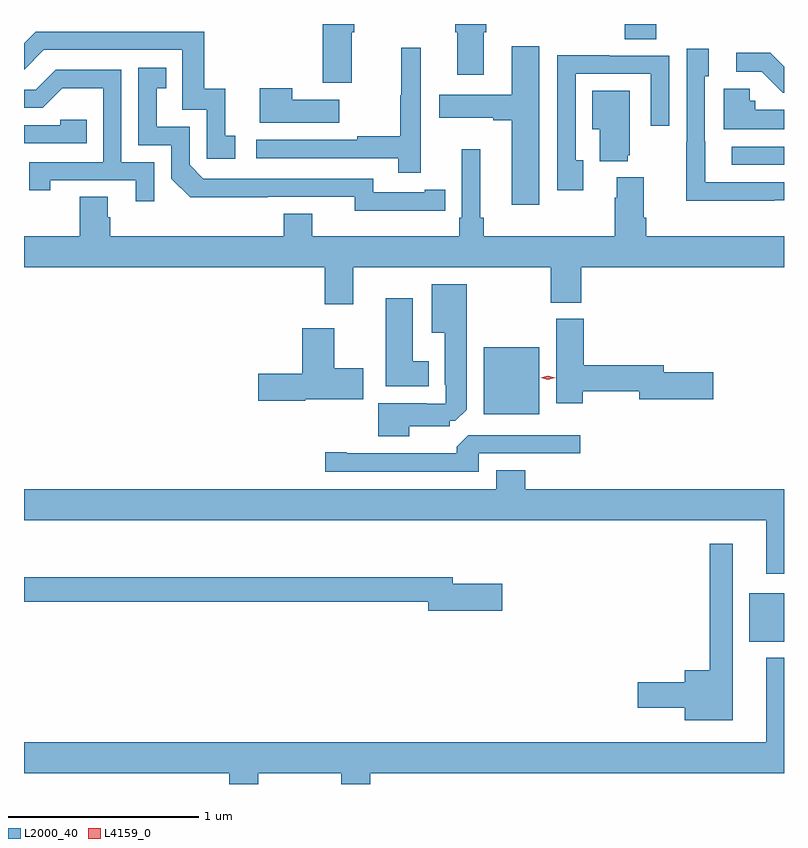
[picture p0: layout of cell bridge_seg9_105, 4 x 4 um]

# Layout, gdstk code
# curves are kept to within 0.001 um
import gdstk
lib = gdstk.Library(unit=1e-6, precision=1e-09)
def R(c, l, rs):  # rectangles x0, y0, x1, y1
    for r in rs: c.add(gdstk.rectangle(r[:2], r[2:], *l))
def P(c, l, *ps):  # polygons
    for p in ps: c.add(gdstk.Polygon(p, *l))
L2000_40 = (2000, 40)
L4159_0 = (4159, 0)

bridge_seg9_105 = lib.new_cell('bridge_seg9_105')
R(bridge_seg9_105, L2000_40, [(774.647,1173.137,774.83,1173.391), (773.249,1174.334,773.542,1174.687), (774.555,1175.646,774.83,1175.742), (773.993,1176.307,774.158,1176.388)])
P(bridge_seg9_105, L2000_40, [(773.251,1176.344),(773.264,1176.344),(773.264,1176.388),(773.099,1176.388),(773.099,1176.344),(773.111,1176.344),(773.111,1176.12),(773.251,1176.12)],
  [(772.555,1176.344),(772.568,1176.344),(772.568,1176.388),(772.403,1176.388),(772.403,1176.078),(772.555,1176.078)],
  [(771.943,1175.799),(771.89,1175.799),(771.89,1176.046),(771.779,1176.046),(771.779,1176.348),(770.892,1176.348),(770.83,1176.286),(770.83,1176.148),(770.934,1176.252),(771.663,1176.252),(771.663,1175.937),(771.792,1175.937),(771.792,1175.679),(771.943,1175.679)],
  [(773.542,1176.271),(773.396,1176.271),(773.396,1176.016),(773.016,1176.016),(773.016,1175.894),(773.3,1175.894),(773.3,1175.882),(773.396,1175.882),(773.396,1175.436),(773.542,1175.436)],
  [(772.917,1176.262),(772.816,1176.262),(772.816,1176.012),(772.809,1176.012),(772.809,1175.798),(772.585,1175.798),(772.585,1175.778),(772.053,1175.778),(772.053,1175.682),(772.801,1175.682),(772.801,1175.604),(772.917,1175.604)],
  [(774.779,1175.46),(774.83,1175.46),(774.83,1175.556),(774.415,1175.556),(774.415,1175.771),(774.414,1175.771),(774.414,1176.114),(774.433,1176.114),(774.433,1176.259),(774.318,1176.259),(774.318,1175.765),(774.316,1175.765),(774.316,1175.459),(774.779,1175.459)],
  [(774.83,1176.163),(774.757,1176.236),(774.579,1176.236),(774.579,1176.138),(774.713,1176.138),(774.824,1176.027),(774.83,1176.027)],
  [(773.773,1175.67),(773.733,1175.67),(773.733,1176.126),(774.129,1176.126),(774.129,1175.853),(774.225,1175.853),(774.225,1176.222),(773.909,1176.222),(773.909,1176.224),(773.637,1176.224),(773.637,1175.514),(773.773,1175.514)],
  [(772.94,1175.406),(773.048,1175.406),(773.048,1175.515),(772.94,1175.515),(772.94,1175.502),(772.668,1175.502),(772.668,1175.574),(771.774,1175.574),(771.702,1175.646),(771.702,1175.847),(771.529,1175.847),(771.529,1176.051),(771.578,1176.051),(771.578,1176.157),(771.432,1176.157),(771.432,1175.751),(771.606,1175.751),(771.606,1175.574),(771.704,1175.477),(772.572,1175.478),(772.572,1175.405)],
  [(771.516,1175.661),(771.342,1175.661),(771.342,1176.147),(770.996,1176.147),(770.891,1176.042),(770.83,1176.042),(770.83,1175.946),(770.928,1175.946),(771.032,1176.05),(771.246,1176.05),(771.246,1175.661),(770.857,1175.661),(770.857,1175.514),(770.968,1175.514),(770.968,1175.565),(771.419,1175.565),(771.419,1175.454),(771.516,1175.454)],
  [(772.489,1175.989),(772.241,1175.989),(772.241,1176.049),(772.07,1176.049),(772.07,1175.867),(772.489,1175.867)],
  [(774.83,1175.938),(774.678,1175.938),(774.678,1175.985),(774.651,1175.985),(774.651,1176.046),(774.512,1176.046),(774.512,1175.834),(774.83,1175.834)],
  [(774.008,1175.697),(774.019,1175.697),(774.019,1176.037),(773.822,1176.037),(773.822,1175.834),(773.861,1175.834),(773.861,1175.666),(774.008,1175.666)],
  [(771.161,1175.883),(771.021,1175.883),(771.021,1175.856),(770.83,1175.856),(770.83,1175.76),(771.161,1175.76)],
  [(772.564,1175.108),(773.602,1175.108),(773.602,1174.921),(773.762,1174.921),(773.762,1175.108),(774.83,1175.108),(774.83,1175.272),(774.104,1175.272),(774.104,1175.368),(774.091,1175.368),(774.091,1175.581),(773.951,1175.581),(773.951,1175.474),(773.939,1175.474),(773.939,1175.272),(773.249,1175.272),(773.249,1175.368),(773.23,1175.368),(773.23,1175.728),(773.133,1175.728),(773.133,1175.368),(773.12,1175.368),(773.12,1175.272),(772.348,1175.272),(772.348,1175.389),(772.196,1175.389),(772.196,1175.272),(771.284,1175.272),(771.284,1175.37),(771.271,1175.37),(771.271,1175.48),(771.124,1175.48),(771.124,1175.272),(770.83,1175.272),(770.83,1175.108),(772.412,1175.108),(772.412,1174.914),(772.564,1174.914)],
  [(772.858,1174.271),(773.07,1174.271),(773.07,1174.299),(773.101,1174.299),(773.161,1174.359),(773.161,1175.017),(772.976,1175.017),(772.976,1174.763),(773.045,1174.763),(773.045,1174.489),(773.049,1174.489),(773.049,1174.389),(772.949,1174.389),(772.949,1174.393),(772.694,1174.393),(772.694,1174.217),(772.858,1174.217)],
  [(772.96,1174.612),(772.876,1174.612),(772.876,1174.945),(772.733,1174.945),(772.733,1174.481),(772.96,1174.481)],
  [(773.772,1174.456),(774.068,1174.456),(774.068,1174.414),(774.457,1174.414),(774.457,1174.556),(774.196,1174.556),(774.196,1174.592),(773.777,1174.592),(773.777,1174.836),(773.63,1174.836),(773.63,1174.392),(773.772,1174.392)],
  [(772.311,1174.412),(772.615,1174.412),(772.615,1174.575),(772.462,1174.575),(772.462,1174.786),(772.295,1174.786),(772.295,1174.547),(772.062,1174.547),(772.062,1174.405),(772.311,1174.405)],
  [(773.223,1174.128),(773.758,1174.128),(773.758,1174.224),(773.169,1174.224),(773.108,1174.162),(773.108,1174.128),(772.528,1174.128),(772.528,1174.133),(772.416,1174.133),(772.416,1174.032),(773.223,1174.032)],
  [(774.83,1173.94),(773.468,1173.94),(773.468,1174.039),(773.315,1174.039),(773.315,1173.94),(770.83,1173.94),(770.83,1173.776),(774.737,1173.776),(774.737,1173.495),(774.83,1173.495)],
  [(774.559,1173.652),(774.438,1173.652),(774.438,1172.986),(774.308,1172.986),(774.308,1172.924),(774.06,1172.924),(774.06,1172.789),(774.308,1172.789),(774.308,1172.723),(774.559,1172.723)],
  [(773.347,1173.441),(773.086,1173.441),(773.086,1173.475),(770.83,1173.475),(770.83,1173.346),(772.958,1173.346),(772.958,1173.299),(773.347,1173.299)],
  [(772.063,1172.444),(772.499,1172.444),(772.499,1172.388),(772.652,1172.388),(772.652,1172.444),(774.83,1172.444),(774.83,1173.052),(774.737,1173.052),(774.737,1172.608),(770.83,1172.608),(770.83,1172.444),(771.911,1172.444),(771.911,1172.388),(772.063,1172.388)])
P(bridge_seg9_105, L4159_0, [(773.587,1174.516),(773.549,1174.527),(773.549,1174.527),(773.549,1174.527),(773.587,1174.536),(773.625,1174.526),(773.625,1174.525),(773.625,1174.525)])

lib.write_gds('bridge_seg9_105.gds')
